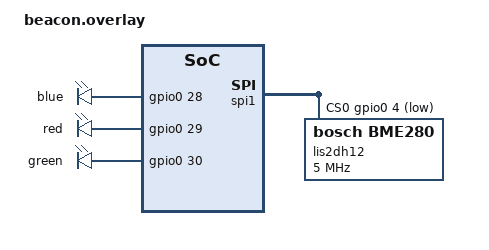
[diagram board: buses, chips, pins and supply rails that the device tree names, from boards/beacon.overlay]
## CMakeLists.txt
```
#
# Copyright (c) 2016 Intel Corporation
#
# SPDX-License-Identifier: Apache-2.0
#

cmake_minimum_required(VERSION 3.20.0)
find_package(Zephyr REQUIRED HINTS $ENV{ZEPHYR_BASE})
project(beacon)

target_sources(app PRIVATE src/main.c)
zephyr_library_include_directories(.)
```

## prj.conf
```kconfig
# GPIO
CONFIG_GPIO=y

# SPI
CONFIG_SPI=y

# LOG
CONFIG_LOG=y
CONFIG_CBPRINTF_FP_A_SUPPORT=y

# Bluetooth LE
CONFIG_BT=y
CONFIG_BT_DEVICE_NAME="Zeca_Beacon"

# Increase stack size for the main thread and System Workqueue
CONFIG_SYSTEM_WORKQUEUE_STACK_SIZE=2048
CONFIG_MAIN_STACK_SIZE=2048
```

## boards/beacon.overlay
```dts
/* =========================
 * PINCTRL - CUSTOM NRF52810
 * ========================= */

&pinctrl {

	/* ---------- UART0 ---------- */
	uart0_default: uart0_default {
		group1 {
			psels = <NRF_PSEL(UART_TX, 0, 6)>,
				<NRF_PSEL(UART_RX, 0, 8)>,
				<NRF_PSEL(UART_RTS, 0, 5)>,
				<NRF_PSEL(UART_CTS, 0, 7)>;
		};
	};

	uart0_sleep: uart0_sleep {
		group1 {
			psels = <NRF_PSEL(UART_TX, 0, 6)>,
				<NRF_PSEL(UART_RX, 0, 8)>,
				<NRF_PSEL(UART_RTS, 0, 5)>,
				<NRF_PSEL(UART_CTS, 0, 7)>;
			low-power-enable;
		};
	};

	/* ---------- I2C0 ---------- */
	i2c0_default: i2c0_default {
		group1 {
			psels = <NRF_PSEL(TWIM_SDA, 0, 26)>,
				<NRF_PSEL(TWIM_SCL, 0, 27)>;
		};
	};

	i2c0_sleep: i2c0_sleep {
		group1 {
			psels = <NRF_PSEL(TWIM_SDA, 0, 26)>,
				<NRF_PSEL(TWIM_SCL, 0, 27)>;
			low-power-enable;
		};
	};

	/* ---------- SPI0 (CORRIGIDO PARA NRF52810) ---------- */
	spi0_default: spi0_default {
		group1 {
			psels = <NRF_PSEL(SPIM_SCK,  1, 5)>,
				<NRF_PSEL(SPIM_MOSI, 1, 3)>,  /* substitui P0.31 */
				<NRF_PSEL(SPIM_MISO, 1, 2)>;  /* substitui P0.30 */
				
		};
	};

	spi0_sleep: spi0_sleep {
		group1 {
			psels = <NRF_PSEL(SPIM_SCK,  1, 5)>,
				<NRF_PSEL(SPIM_MOSI, 1, 3)>,
				<NRF_PSEL(SPIM_MISO, 1, 2)>;
				
			low-power-enable;
		};
	};
};

&i2c0 {	status = "disabled";};
&spi0 {	status = "disabled";};
&i2c1 {	status = "disabled";};
	
&spi1 {
    compatible = "nordic,nrf-spi"; //using SPI as per ERRATA 58
    status = "okay";
    pinctrl-0 = <&spi1_default>;
    pinctrl-1 = <&spi1_sleep>;
    pinctrl-names = "default", "sleep";
    cs-gpios = <&gpio0 4 GPIO_ACTIVE_LOW>;
    lis2dh12: lis2dh12@0 {
    	compatible = "bosch,bme280";
    	reg = <0>;
        spi-max-frequency = <5000000>; 
    };
};

/ {
	aliases {
		led0 = &led0;
		led1 = &led1;
	};

	leds {
		compatible = "gpio-leds";
		status = "okay";

		led0: led_0 {
			gpios = <&gpio0 28 GPIO_ACTIVE_HIGH>;
			label = "blue";
		};

		led1: led_1 {
			gpios = <&gpio0 29 GPIO_ACTIVE_HIGH>;
			label = "red";
		};

		led2: led_2 {
			gpios = <&gpio0 30 GPIO_ACTIVE_HIGH>;
			label = "green";
		};
	};
};
```

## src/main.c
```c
#include <zephyr/kernel.h>
#include <zephyr/device.h>
#include <zephyr/devicetree.h>
#include <zephyr/drivers/spi.h>
#include <zephyr/bluetooth/bluetooth.h>
#include <zephyr/bluetooth/gap.h>
#include <zephyr/logging/log.h>
#include <zephyr/sys/printk.h>
#include <zephyr/drivers/gpio.h>

#define COMPANY_ID_CODE 0x0000

#define I2C_NODE DT_NODELABEL(lis2dh12)
#define LED0_NODE1 DT_ALIAS(led0)
#define LED0_NODE2 DT_ALIAS(led1)
#define LED0_NODE3 DT_ALIAS(led2)

#define SLEEP_TIME_MS 200

LOG_MODULE_REGISTER(Test, LOG_LEVEL_INF);

#define DEVICE_NAME CONFIG_BT_DEVICE_NAME
#define DEVICE_NAME_LEN (sizeof(DEVICE_NAME) - 1)

#define SPIOP      SPI_WORD_SET(8) | SPI_TRANSFER_MSB

struct spi_dt_spec spispec = SPI_DT_SPEC_GET(DT_NODELABEL(lis2dh12), SPIOP, 0);

// Lisdh12 register

#define WHO_AM_I 0x0F
#define CHIP_ID 0x33
#define CTRL_REG1 0x20 // enable axis, set rate
#define CTRL_REG3 0x22 // wake-up + moviment
#define CTRL_REG4 0x23 // set scale 2g, 4g, 8g, 16g and op mode
#define CTRL_REG5 0x24 // enable fifo mode
#define CTRL_REG6 0x25 // FIFO watermark
#define FIFO_CTRL_REG 0x2E // watermarks -> 16 samples
#define INT1_CFG 0x30 // wake-up when moviment all axis
#define INT1_THS 0x32 // Threshold limiar =! 250mg(LP)
#define INT1_DURATION 0x33 // duration 
#define ACT_THS 0x3E // enalble low power mode and set threshold
#define ACT_DUR 0x3F // set duration (xHz * seconds)


struct lis2dh_data {
    double ax;
	double ay;
	double az;
}lis2dh_data;

typedef struct adv_mfg_data {
	uint8_t company_code; 
	uint8_t status; 
} adv_mfg_data_type;



static const struct bt_le_adv_param *adv_param = BT_LE_ADV_PARAM(BT_LE_ADV_OPT_NONE,800,801,NULL);

static const struct gpio_dt_spec led1 = GPIO_DT_SPEC_GET(LED0_NODE1, gpios);
static const struct gpio_dt_spec led2 = GPIO_DT_SPEC_GET(LED0_NODE2, gpios);
static const struct gpio_dt_spec led3 = GPIO_DT_SPEC_GET(LED0_NODE3, gpios);

static adv_mfg_data_type adv_mfg_data = { COMPANY_ID_CODE, 1 };

static const struct bt_data ad[] = {
	BT_DATA_BYTES(BT_DATA_FLAGS, BT_LE_AD_NO_BREDR),
	BT_DATA(BT_DATA_NAME_COMPLETE, DEVICE_NAME, DEVICE_NAME_LEN),
	/* STEP 3 - Include the Manufacturer Specific Data in the advertising packet. */

	BT_DATA(BT_DATA_MANUFACTURER_DATA, (unsigned char *)&adv_mfg_data, sizeof(adv_mfg_data)),

};

static const struct bt_data sd[] = {
	//BT_DATA(BT_DATA_URI, url_data, sizeof(url_data)),
};

void lis2dh12_configuration(void){



};

static int lis2dh12_write_reg(uint8_t reg, uint8_t value)
{
	int err;

	/* STEP 5.1 - declare a tx buffer having register address and data */
	uint8_t tx_buf[] = {(reg & 0x7F), value};	
	struct spi_buf 		tx_spi_buf 		= {.buf = tx_buf, .len = sizeof(tx_buf)};
	struct spi_buf_set 	tx_spi_buf_set	= {.buffers = &tx_spi_buf, .count = 1};

	/* STEP 5.2 - call the spi_write_dt function with SPISPEC to write buffers */
	err = spi_write_dt(&spispec, &tx_spi_buf_set);
	if (err < 0) {
		LOG_ERR("spi_write_dt() failed, err %d", err);
		return err;
	}

	return 0;
}

static int lis2dh12_read_reg(uint8_t reg, uint8_t *data, uint8_t size)
{
	int err;

	/* STEP 4.1 - Set the transmit and receive buffers */
	uint8_t tx_buffer = reg;
	struct spi_buf tx_spi_buf			= {.buf = (void *)&tx_buffer, .len = 1};
	struct spi_buf_set tx_spi_buf_set 	= {.buffers = &tx_spi_buf, .count = 1};
	struct spi_buf rx_spi_bufs 			= {.buf = data, .len = size};
	struct spi_buf_set rx_spi_buf_set	= {.buffers = &rx_spi_bufs, .count = 1};

	/* STEP 4.2 - Call the transceive function */
	err = spi_transceive_dt(&spispec, &tx_spi_buf_set, &rx_spi_buf_set);
	if (err < 0) {
		LOG_ERR("spi_transceive_dt() failed, err: %d", err);
		return err;
	}

	return 0;
}

int lis2dh12_read_fifo_samples(void)
{

	int err;

	int32_t datap = 0, datat = 0, datah = 0;
	float pressure = 0.0f, temperature = 0.0f, humidity = 0.0f;

	/* STEP 9.1 - Store register addresses to do burst read */
	uint8_t regs[] = {PRESSMSB, PRESSLSB, PRESSXLSB, \
					  TEMPMSB, TEMPLSB, TEMPXLSB, \
					  HUMMSB, HUMLSB, DUMMY};	//0xFF is dummy reg
	uint8_t readbuf[sizeof(regs)];

	/* STEP 9.2 - Set the transmit and receive buffers */
	struct spi_buf 		tx_spi_buf 			= {.buf = (void *)&regs, .len = sizeof(regs)};
	struct spi_buf_set 	tx_spi_buf_set		= {.buffers = &tx_spi_buf, .count = 1};
	struct spi_buf 		rx_spi_bufs			= {.buf = readbuf, .len = sizeof(regs)};
	struct spi_buf_set 	rx_spi_buf_set	= {.buffers = &rx_spi_bufs, .count = 1};

	/* STEP 9.3 - Use spi_transceive() to transmit and receive at the same time */
	err = spi_transceive_dt(&spispec, &tx_spi_buf_set, &rx_spi_buf_set);
	if (err < 0) {
		LOG_ERR("spi_transceive_dt() failed, err: %d", err);
		return err;
	}

	// continue...

	
	return 0;
}

int main(void)
{

    int err;


	err = spi_is_ready_dt(&spispec);
	if (!err) {
		LOG_ERR("Error: SPI device is not ready, err: %d", err);
		return 0;
	}
    
	
    err = bt_enable(NULL);
	if (err) {
		LOG_ERR("Bluetooth init failed (err %d)\n", err);
		return -1;
	}

	LOG_INF("Bluetooth initialized\n");

	err = bt_le_adv_start(adv_param, ad, ARRAY_SIZE(ad), sd, ARRAY_SIZE(sd));
	if (err) {
	 	LOG_ERR("Advertising failed to start (err %d)\n", err);
	 	return -1;
	}
	
	LOG_INF("Advertising successfully started\n");
	
	for (;;)
		{
			k_msleep(SLEEP_TIME_MS);
		}
	return 0;
}
```

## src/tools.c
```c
#include "tools.h"


static float window[W];
static int idx = 0, filled = 0;


static void push_sample(float ax, float ay, float az){
    float mag_sq = ax*ax + ay*ay + az*az;
    window[idx++] = mag_sq;
    if (idx >= W) idx = 0;
    if (filled < W) filled++;
}

static float compute_rms_sq(void)
{
    float sum = 0.0f;
    for (int i=0;i<filled;i++) sum += window[i];
    return (filled==0) ? 0.0f : (sum / filled);
}
```

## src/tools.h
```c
#ifndef TOOLS_H
#define TOOLS_H

#include "stdint.h"
#include "math.h"

#define FS_HZ       100
#define W           20     
#define K_SIGMA     4.0f
#define N_CONSEC    3
#define CALIB_SAMPLES 200 //100hz * 2

uint8_t status_verify(void);

#endif
```
